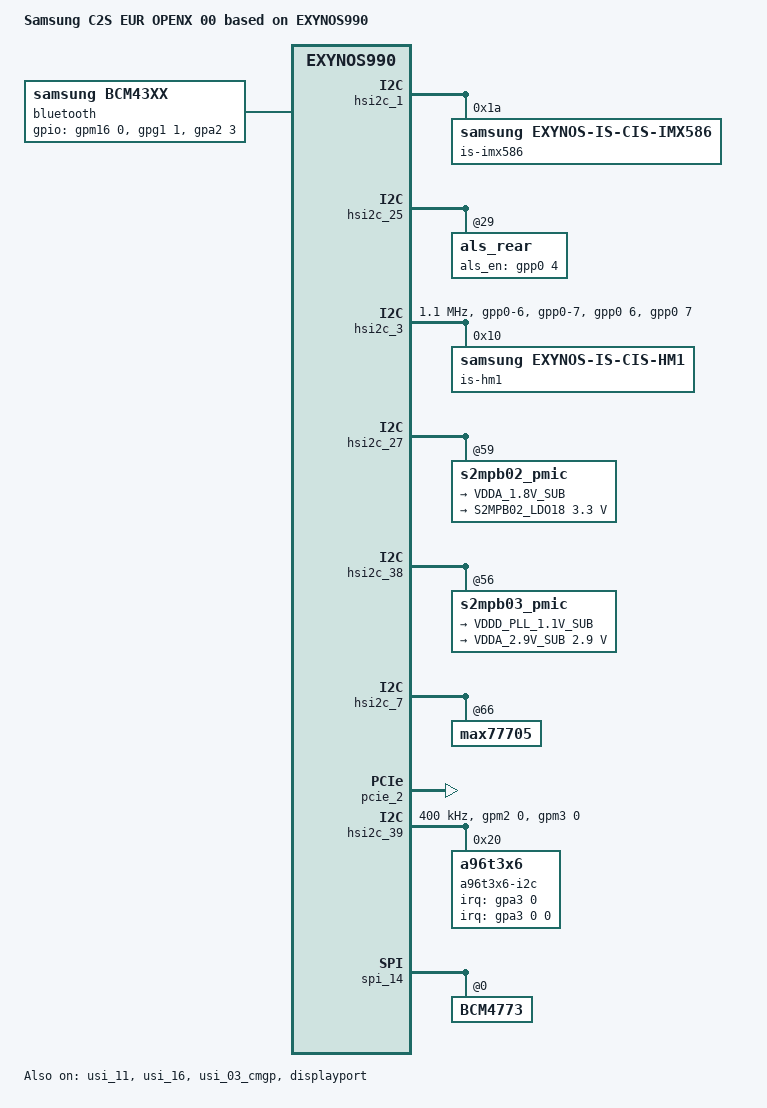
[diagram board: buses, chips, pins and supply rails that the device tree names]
/*
 * SAMSUNG EXYNOS990 board device tree source
 *
 * Copyright (c) 2019 Samsung Electronics Co., Ltd.
 *		http://www.samsung.com
 *
 * This program is free software; you can redistribute it and/or modify
 * it under the terms of the GNU General Public License version 2 as
 * published by the Free Software Foundation.
*/

/dts-v1/;
/plugin/;
#include "exynos990-c2s_pm_00.dtsi"
#include "exynos990-c2s_common.dtsi"
#include "exynos_gpio_config_macros.dtsi"
#include "exynos990-c2s_nfc_00.dtsi"
#include "../exynos/exynos9830-universal9830-cp-s5123-sipc.dtsi"
#include <dt-bindings/gpio/gpio.h>
#include "exynos9830-sensorhub_03.dtsi"
#include "exynos990-c2s_fingerprint_00.dtsi"
#include "battery_data_c2_common.dtsi"
#include "exynos990-c2s_uwb.dtsi"
#include "camera/module_imx586.dtsi"

#define BOARD_ID	0x10
#define BOARD_REV	0x0

/ {
	compatible = "samsung,C2S EUR OPENX 00", "samsung,EXYNOS990";
	dtbo-hw_rev = <0>;
	dtbo-hw_rev_end = <15>;
	edtbo-rev = <0>;

	fragment@model {
		target-path = "/";
		__overlay__ {
			#address-cells = <2>;
			#size-cells = <1>;

			model = "Samsung C2S EUR OPENX 00 based on EXYNOS990";

			acpm_ipc {
				compatible = "samsung,exynos-acpm-ipc";
				board-id = <BOARD_ID>;
				board-rev = <BOARD_REV>;
			};

			pinctrl@15850000 {
				bt_hostwake: bt-hostwake {
					samsung,pins = "gpa2-3";
					samsung,pin-function = <0xF>;
					samsung,pin-pud = <1>;
				};
			};

			pinctrl@10730000 {
				bt_btwake: bt-btwake {
					samsung,pins = "gpg1-1";
					samsung,pin-function = <1>;
					samsung,pin-pud = <0>;
					samsung,pin-con-pdn = <3>;
					samsung,pin-pud-pdn = <0>;
				};
			};

			pinctrl@15C30000 {
				bt_en: bt-en {
					samsung,pins = "gpm16-0";
					samsung,pin-function = <1>;
					samsung,pin-pud = <0>;
					samsung,pin-con-pdn = <3>;
					samsung,pin-pud-pdn = <0>;
				};
			};

			bluetooth {
				compatible = "samsung,bcm43xx";
				gpios = <&gpm16 0 GPIO_ACTIVE_HIGH    /*BT_EN*/
				&gpg1 1 GPIO_ACTIVE_HIGH    /*BT_WAKE*/
				&gpa2 3 GPIO_ACTIVE_HIGH    /*BT_HOST_WAKE*/ >;
				pinctrl-names = "default";
				pinctrl-0=<&bt_en &bt_hostwake &bt_btwake>;
				status = "okay";
			};
		}; /* end of __overlay__ */
	}; /* end of fragment */

	fragment@camera {
		target-path = "/";
		__overlay__ {
			/* REAR CAMERA */
			is_sensor_hm1: is_sensor_hm1@20 {
				power_seq {
					scenario_normal_on {
						30 { pname = "VDDA_2.8V_CAM"; pin = <PIN_REGULATOR 1 0>; gpio;};
						50 { pname; pin; }; /* skip "VDDD_1.05V_CAM" */
					};

					scenario_vision_on {
						30 { pname = "VDDA_2.8V_CAM"; pin = <PIN_REGULATOR 1 0>; gpio;};
						50 { pname; pin; }; /* skip "VDDD_1.05V_CAM" */
					};

					scenario_hw_init_normal_on {
						/* HW INIT (without ois power control) */
						30 { pname = "VDDA_2.8V_CAM"; pin = <PIN_REGULATOR 1 0>; gpio;};
						50 { pname; pin; }; /* skip "VDDD_1.05V_CAM" */
					};

					scenario_normal_off {
						30 { pname; pin; }; /* skip "VDDD_1.05V_CAM" */
						40 { pname = "VDDA_2.8V_CAM"; pin = <PIN_REGULATOR 0 0>; gpio;};
					};

					scenario_vision_off {
						30 { pname; pin; }; /* skip "VDDD_1.05V_CAM" */
						40 { pname = "VDDA_2.8V_CAM"; pin = <PIN_REGULATOR 0 0>; gpio;};
					};

					scenario_ois_factory_on {
						80 { pname = "VDDIO_1.8V_SUB"; pin = <PIN_REGULATOR 1 0>; }; /* CAMERA_REAR2_AF */
					};

					scenario_ois_factory_on {
						80 { pname = "VDDIO_1.8V_SUB"; pin = <PIN_REGULATOR 0 0>; }; /* CAMERA_REAR2_AF */
					};

					scenario_read_rom_on {
						20 { pname = "VDDIO_1.8V_SUB"; pin = <PIN_REGULATOR 1 1000>; };
					};

					scenario_read_rom_off {
						20 { pname = "VDDIO_1.8V_SUB"; pin = <PIN_REGULATOR 0 1000>; };
					};
				};
			};
			/* Tele CAMERA */
			is_sensor_3m5: is_sensor_3m5@5A {
				power_seq {
					scenario_normal_on {
						10 { pname = "VDDA_2.8V_SUB"; pin = <PIN_REGULATOR 1 0>; gpio;};
						60 { pname = "VDDIO_1.8V_SUB"; pin = <PIN_REGULATOR 1 100>; };
					};

					scenario_normal_off {
						50 { pname = "VDDIO_1.8V_SUB"; pin = <PIN_REGULATOR 0 0>; };
						80 { pname = "VDDA_2.8V_SUB"; pin = <PIN_REGULATOR 0 0>; gpio;};
					};

					scenario_vision_on {
						10 { pname = "VDDA_2.8V_SUB"; pin = <PIN_REGULATOR 1 0>; gpio;};
						60 { pname = "VDDIO_1.8V_SUB"; pin = <PIN_REGULATOR 1 100>; };
					};

					scenario_vision_off {
						50 { pname = "VDDIO_1.8V_SUB"; pin = <PIN_REGULATOR 0 0>; };
						70 { pname = "VDDA_2.8V_SUB"; pin = <PIN_REGULATOR 0 0>; gpio;};
					};

					scenario_read_rom_on {
						10 { pname = "VDDIO_1.8V_SUB"; pin = <PIN_REGULATOR 1 1000>; };
					};

					scenario_read_rom_off {
						10 { pname = "VDDIO_1.8V_SUB"; pin = <PIN_REGULATOR 0 1000>; };
					};
				};
			};
			/* FRONT CAMERA */
			is_sensor_3j1: is_sensor_3j1@10 {
				power_seq {
					scenario_normal_on {
						20 { pname; pin; };
					};

					scenario_normal_off {
						90 { pname; pin; };
					};
				};
			};

			sound {
				pinctrl-names = "default";
				pinctrl-0 = <&main_mic_bias_en>;

				/delete-property/ samsung,routing;
				samsung,routing = "DMIC1", "MICBIAS1",
					"DMIC2", "MICBIAS2",
					"DMIC3", "MICBIAS3",
					"RECEIVER", "Left AMP SPK",
					"SPEAKER", "Right AMP SPK",
					"BLUETOOTH SPK", "ABOX UAIF3 Playback",
					"ABOX UAIF3 Capture", "BLUETOOTH MIC",
					"USB SPK", "ABOX USB Playback",
					"ABOX USB Capture", "USB MIC",
					"FWD SPK", "ABOX FWD Playback",
					"ABOX FWD Capture", "FWD MIC",
					"VTS Virtual Output", "VTS Virtual Output Mux",
					"PAD DPDM", "DMIC1",
					"PAD DPDM", "DMIC2",
					"PAD DPDM", "DMIC3";
			};
		}; /* end of __overlay__ */
	}; /* end of fragment */
}; /* end of root */

&exynos_is {
	vender {
		rear2_sensor_id = <117>;	/* IMX586 */
	};
};

&hsi2c_1 {
	is-3m5@2D {
		status = "disabled";
	};

	is-imx586@1A {
		compatible = "samsung,exynos-is-cis-imx586";
		reg = <0x1A>; /* 1 bit right shift */
		id = <2>; /* matching is_sensor id */
		setfile = "setA";
	};
};

&hsi2c_25 {
	als_rear@29 {
		als_rear,als_en-gpio = <&gpp0 4 0>;
	};
};

&speedy {
	s2mps19mfd@00 {
		regulators {
			LDO17M {
				regulator-name = "VDD_AF_OIS_IO_1P8_SUB";
			};
		};
	};
};

&hsi2c_3 {
	#address-cells = <1>;
	#size-cells = <0>;
	gpios = <&gpp0 6 0 &gpp0 7 0>;
	status = "okay";
	clock-frequency = <1100000>;
	samsung,tscl-h = <0xF0>;
	samsung,tscl-l = <0x7>;
	samsung,reset-before-trans;
	samsung,fast-plus-mode;

	pinctrl-names = "default","on_i2c","off_i2c";
	pinctrl-0 = <&hsi2c3_bus_in>;
	pinctrl-1 = <&hsi2c3_bus>;
	pinctrl-2 = <&hsi2c3_bus_in>;

	is-hm1@10 {
		compatible = "samsung,exynos-is-cis-hm1";
		reg = <0x10>; /* 1 bit right shift */
		id = <0>; /* matching is_sensor id */
		setfile = "default";
		rev_reg = <0x0002 2 0xA101>;
	};
};

&hsi2c_13 {
	status = "disabled";
};

&hsi2c_27 {
	s2mpb02_pmic@59 {
		regulators {
			s2mpb02-ldo10 {
				regulator-name = "VDDA_1.8V_SUB";
			};

			s2mpb02-ldo18 {
				regulator-name = "S2MPB02_LDO18";
				regulator-min-microvolt = <3300000>;
				regulator-max-microvolt = <3300000>;
				regulator-always-on;
				regulator-boot-on;
			};
		};
	};
};

&hsi2c_38 {
	s2mpb03_pmic@56 {
		regulators {
			s2mpb03-ldo4 {
				regulator-name = "VDDD_PLL_1.1V_SUB";
			};

			s2mpb03-ldo6 {
				regulator-name = "VDDA_2.9V_SUB";
				regulator-min-microvolt = <2900000>;
				regulator-max-microvolt = <2900000>;
			};
		};
	};
};

&panel_0 {
	/* reset, power */
	gpios = <&gpa3 4 0x1>;
};

&pinctrl_0 {
	conn_det_ctrl: conn-det-ctrl {
		samsung,pins = "gpa0-0";
		samsung,pin-pud = <0>;
	};
};

&pinctrl_4 {
	/* REAR WIDE */
	hsi2c3_bus_in: hsi2c3-bus-in {
		samsung,pins = "gpp0-6", "gpp0-7";
		samsung,pin-function = <0>;
		samsung,pin-pud = <0>;
		samsung,pin-drv = <0>;
	};
};

&panel_drv_0 {
	pinctrl-0 = <&disp_det_ctrl &disp_te_ctrl &conn_det_ctrl>;
	gpios {
		conn-det {
			name = "conn-det";
			gpios = <&gpa0 0 0>; 		/* 0:NOK(active) 1:OK */
			dir = <1>;  				/* IN */
			irq-type = <0x00002001>;	/* RISING EDGE | ONE_SHOT */
		};
	};
};

&chosen {
	bootargs_ext = "root=/dev/ram0 androidboot.boot_devices=13100000.ufs sec_debug.cp=0";
};

&usi_11 {
	usi_v2_mode = "i2c";
	status = "okay";
};

&usi_16 {
	usi_v2_mode = "spi";
	status = "okay";
};

&usi_03_cmgp {
	usi_v2_mode = "i2c";
	status = "okay";
};

&hsi2c_7 {
	max77705@66 {
		max77705,extra_fw_enable = <0>;
	};
};

&pinctrl_1 {
	hsi2c44_bus: hsi2c44-bus {
		samsung,pins = "gpm12-0", "gpm13-0";
		samsung,pin-function = <2>;
		samsung,pin-pud = <0>;
		samsung,pin-drv = <0>;
	};
};

&pinctrl_5 {
	aux_oe: aux-oe {
		samsung,pins = "gpp6-2";
		samsung,pin-function = <1>;
		samsung,pin-pud = <0>;
		samsung,pin-con-pdn = <3>;
		samsung,pin-pud-pdn = <0>;
		};

	sbu_sel: sbu-sel {
		samsung,pins = "gpp6-1";
		samsung,pin-function = <1>;
		samsung,pin-pud = <0>;
		samsung,pin-con-pdn = <3>;
		samsung,pin-pud-pdn = <0>;
		};
};

&displayport {
	status = "okay";
	dp,aux_sw_oe = <&gpp6 2 0>;
	dp,sbu_sw_sel = <&gpp6 1 0>;
	dp,usb_con_sel = <&gpm26 0 0>;

	pinctrl-names = "default";
	pinctrl-0 = <&aux_oe &sbu_sel>;
};

&pcie_2 {
	status = "okay";
	chip-ver = <1>;
	use-sysmmu = "false";
	use-cache-coherency = "true";
	use-msi = "true";
	use-pcieon-sleep = "true";
	phy-power-off = "false";
	ep-device-type = <EP_SAMSUNG_MODEM>;
	ep-device-name = "MODEM";
};

&ufs {
	/* board type for UFS CAL */
	evt-ver = /bits/ 8 <1>;
};

&hsi2c_39 { /* 15D10000 */
	#address-cells = <1>;
	#size-cells = <0>;
	gpios = <&gpm2 0 0 &gpm3 0 0>;
	status = "okay";
	clock-frequency = <400000>;

	pinctrl-names = "default";
	pinctrl-0 = <&grip_i2c>;


	a96t3x6-i2c@20{
		compatible = "a96t3x6";
		reg = <0x20>;
		status = "okay";
		pinctrl-names = "default";
		pinctrl-0 = <&grip_irq>;
		interrupt-parent = <&gpa3>;
		interrupts = <0 0 0>;

		a96t3x6,irq_gpio = <&gpa3 0 0>;
		a96t3x6,ldo_en = <&gpp9 3 0>;
		a96t3x6,fw_path = "a96t365_z3s_eur.bin";
		a96t3x6,firmup_cmd = <0x60>;
	};
};

&spi_14 {
	BCM4773@0 {
		ssp-acc-position = <7>;
		ssp-mag-position = <1>;
		ssp-mag-array = /bits/ 8 <239 84 91 119 234 27 249 175 213 52 239 162 60 172 2 188 249 233 26 83 187 254 100 43 4 13 127>;
		ssp-thermi-up = /bits/ 16 <3244 3216 3177 3127 3063 2987 2893 2785 2663 2522 2364 2191 2019 1841 1664 1492 1325 1165 1024 894 772 658 579>;
		ssp-thermi-sub = /bits/ 16 <4095 4095 4095 4026 3810 3566 3300 3013 2725 2438 2142 1871 1626 1402 1202 1030 874 744 631 535 453 385 331>;
	};
};

/* ----------------------------------------------------------------------------
 * Configurations for GPIOs without Device Driver
 * Note: Do NOT add pins using by device drivers to the configuration below
 * ----------------------------------------------------------------------------
 */
/*
 * pin banks of exynos9830 pin-controller 0 (ALIVE) : pinctrl@15850000
 * GPA0, GPA1, GPA2, GPA3, GPA4
 * GPQ0
 */
&pinctrl_0 {
	pinctrl-names = "default";
	pinctrl-0 = <&initial0>;
	initial0: initial-state {
		PIN_IN(gpq0-6, DOWN);			/* XSPEEDY_DCXO */
	};
};

/*
 * pin banks of exynos9830 pin-controller 2 (HSI1) : pinctrl@13040000
 * GPF0, GPF1, GPF2
 */
&pinctrl_2 {
        pinctrl-names = "default";
        pinctrl-0 = <&initial2>;
        initial2: initial-state {
                PIN_IN_SLP(gpf0-2, NONE, INPUT, NONE);	/* MASTER_VER_1_AP */
                PIN_IN_SLP(gpf0-3, NONE, INPUT, NONE);	/* MASTER_VER_2_AP */
                PIN_IN_SLP(gpf2-2, NONE, INPUT, NONE);	/* SLAVE_CHK_2 */
        };
};

/*
 * pin banks of exynos9830 pin-controller 4 (PERIC0) : pinctrl@10430000
 * GPP0, GPP1, GPP2, GPP3, GPP4
 * GPG0
 */
&pinctrl_4 {
	pinctrl-names = "default";
	pinctrl-0 = <&initial4>;
	initial4: initial-state {
		PIN_IN_SLP(gpp2-4, NONE, INPUT, NONE);
		PIN_IN_SLP(gpp2-5, NONE, INPUT, NONE);	/* SUB_VER_2 */
	};
};

/*
 * pin banks of exynos9830 pin-controller 5 (PERIC1) : pinctrl@10730000
 * GPP5, GPP6, GPP7, GPP8, GPP9
 * GPC0
 * GPG1
 * GPB0, GPB1, GPB2
 */
&pinctrl_5 {
	pinctrl-names = "default";
	pinctrl-0 = <&initial5>;
	initial5: initial-state {
		PIN_IN_SLP(gpp5-0, NONE, INPUT, NONE);	/* MEM_SCL_1P8 */
		PIN_IN_SLP(gpp5-1, NONE, INPUT, NONE);	/* MEM_SDA_1P8 */
		PIN_IN_SLP(gpp5-5, NONE, INPUT, NONE);	/* HW_REV_M */
		PIN_IN_SLP(gpb0-0, NONE, INPUT, NONE);	/* INTERPOSER_DET_R_2 */
		PIN_IN_SLP(gpb0-1, NONE, INPUT, NONE);	/* INTERPOSER_DET_R_1 */
		PIN_IN_SLP(gpb0-2, NONE, INPUT, NONE);	/* INTERPOSER_DET_L_1 */
		PIN_IN_SLP(gpb0-3, NONE, INPUT, NONE);	/* INTERPOSER_DET_L_2 */
		PIN_IN_SLP(gpb2-7, NONE, INPUT, NONE);	/* SLAVE_CHK_1 */
	};
};

&wacom {
	wacom,bringup = <1>;
	wacom,support_garage_open_test = <0>;
};

&mipi_phy_csis0_m0s4s4s4s4s4s2 {
	ldo0;
	ldo1;
};

&mipi_phy_csis1_m0s4s4s4s4s4s2 {
	ldo0;
	ldo1;
};

&mipi_phy_csis2_m0s4s4s4s4s4s2 {
	ldo0;
	ldo1;
};

&mipi_phy_csis3_m0s4s4s4s4s4s2 {
	ldo0;
	ldo1;
};

&mipi_phy_csis4_m0s4s4s4s4s4s2 {
	ldo0;
	ldo1;
};

&mipi_phy_csis5_m0s4s4s4s4s4s2 {
	ldo0;
	ldo1;
};

&micbias1 {
	/delete-property/ vin-supply;
	gpio = <&gpp4 1 0>;
	enable-active-high;
	vin-supply = <&buck12_reg>;
};

&micbias2 {
	/delete-property/ regulator-name;
	/delete-property/ vin-supply;
	regulator-name = "sub_micbias_1p8";
	vin-supply = <&ldo13_reg>;
};

&exynos_is {
	vender {
		ois_gyro_list = <0x00 0x01 0x01 0x01 0x00>;
	};
};
